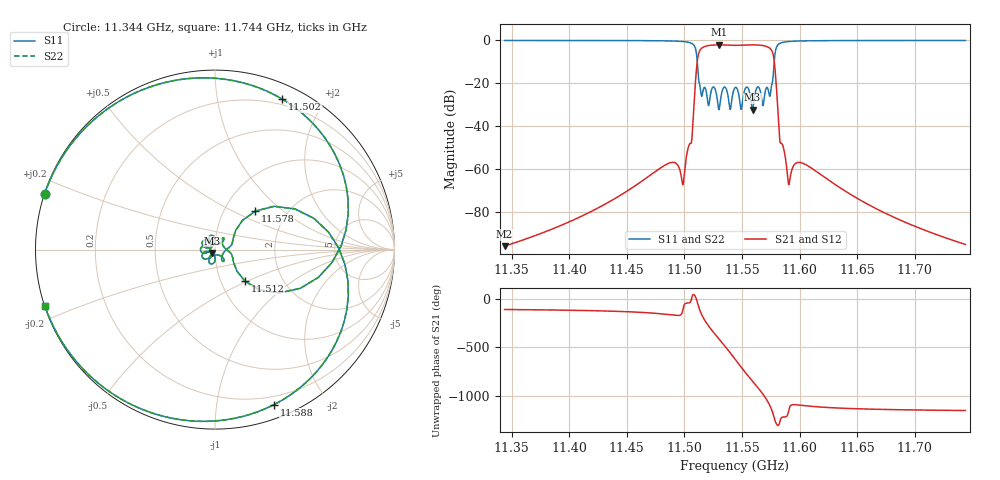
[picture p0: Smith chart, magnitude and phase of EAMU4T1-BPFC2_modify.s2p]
! Created with skrf (http://scikit-rf.org).
! Parameters = {f0=11544.8; bw=65.1; Q=6100; N=10; m_0_1=0.9827286005020142; m_1_1=9.999999747378752e-06; m_1_2=0.808456301689148; m_2_2=9.999999747378752e-06; m_2_3=0.5798785090446472; m_2_8=9.999999747378752e-06; m_2_9=0.01971626654267311; m_3_3=9.999999747378752e-06; m_3_4=0.534968912601471; m_3_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
# MHz S RI R 50.0
!freq ReS11 ImS11 ReS21 ImS21 ReS12 ImS12 ReS22 ImS22
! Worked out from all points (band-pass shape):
!   1001 points, 11.344 GHz to 11.744 GHz, reference 50 ohm
!   highest |S21| = -2.04 dB at 11.53 GHz (marker M1); lowest = -95.7 dB at 11.344 GHz (marker M2)
!   |S21| within 3 dB of the highest: 11.513 GHz to 11.576 GHz (63.03 MHz wide, 0.546 % of centre)
!   lowest |S11| = -32.3 dB at 11.559 GHz (marker M3), VSWR 1.05, Z = 48.5 - j1.85 ohm
!   |S11| at or under -10 dB: 11.511 GHz to 11.578 GHz (66.75 MHz wide, 0.578 % of centre)
!   |S22| runs from -32.3 to 0.0 dB; largest |S21 - S12| = 0
!   S11 on the Smith chart (normalised r, x): 11.344 GHz: 0.00, +0.16; 11.502 GHz: 0.14, +1.53; 11.512 GHz: 1.30, -0.49; 11.578 GHz: 1.40, +0.66; 11.588 GHz: 0.12, -1.45; 11.744 GHz: 0.00, -0.16
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11344  -0.9499 0.3079  -5.34e-06 -1.55e-05  -5.34e-06 -1.55e-05  -0.9499 0.3079
11410.8  -0.8854 0.4574  -3.94e-05 -7.14e-05  -3.94e-05 -7.14e-05  -0.8854 0.4574
11477.6  -0.5112 0.8393  -0.000877 -0.000486  -0.000877 -0.000486  -0.5112 0.8393
11498.4  0.121 0.9374  -0.000294 -0.000358  -0.000294 -0.000358  0.121 0.9374
11502.4  0.374 0.8389  0.0018 -0.00165  0.0018 -0.00165  0.374 0.8389
11511.6  0.1678 -0.1767  0.2614 -0.2876  0.2614 -0.2876  0.1678 -0.1767
11516.4  0.0383 0.0587  -0.6783 0.1537  -0.6783 0.1537  0.0383 0.0587
11521.2  -0.00081 0.0304  0.1508 0.7481  0.1508 0.7481  -0.00081 0.0304
11530  -0.0147 0.0194  0.4921 -0.6188  0.4921 -0.6188  -0.0147 0.0194
11538  -0.0296 0.041  -0.7598 -0.1682  -0.7598 -0.1682  -0.0296 0.041
11544  -0.0792 -0.00823  -0.1266 0.7578  -0.1266 0.7578  -0.0792 -0.00823
11550.8  -0.0256 -0.0345  0.7729 -0.0848  0.7729 -0.0848  -0.0256 -0.0345
11559.2  -0.0151 -0.0191  -0.4881 -0.6219  -0.4881 -0.6219  -0.0151 -0.0191
11563.6  -0.0188 -0.0799  -0.7693 0.1471  -0.7693 0.1471  -0.0188 -0.0799
11568.4  0.00771 -0.0296  -0.0762 0.7565  -0.0762 0.7565  0.00771 -0.0296
11573.2  0.0369 -0.0522  0.6844 0.0682  0.6844 0.0682  0.0369 -0.0522
11578  0.2251 0.2148  -0.2778 -0.196  -0.2778 -0.196  0.2251 0.2148
11582.8  0.6768 -0.5141  -0.00491 0.00114  -0.00491 0.00114  0.6768 -0.5141
11587.6  0.3296 -0.8633  -0.00143 -0.00135  -0.00143 -0.00135  0.3296 -0.8633
11610.8  -0.4919 -0.8499  0.000932 -0.000491  0.000932 -0.000491  -0.4919 -0.8499
11677.6  -0.8812 -0.4651  4.29e-05 -7.61e-05  4.29e-05 -7.61e-05  -0.8812 -0.4651
11744  -0.9474 -0.315  5.99e-06 -1.69e-05  5.99e-06 -1.69e-05  -0.9474 -0.315
